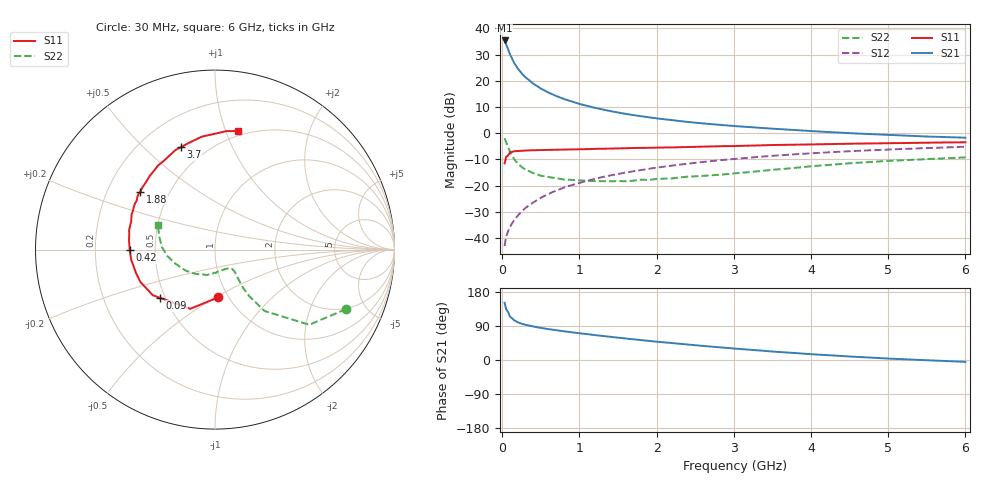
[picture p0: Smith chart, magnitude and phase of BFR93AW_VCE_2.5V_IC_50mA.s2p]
! Infineon Technologies  Discrete & RF Semiconductors
! BFR93AW
! VCE =  2.5 V,  IC =  50 mA
! Common Emitter S-Parameters:  Nov 2015
# GHz  S  MA  R  50
!  f  S11  S21  S12  S22
! GHz  MAG  ANG  MAG  ANG  MAG  ANG  MAG  ANG
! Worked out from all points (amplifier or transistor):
!   206 points, 30 MHz to 6 GHz, reference 50 ohm
!   highest |S21| = 35.4 dB at 30 MHz (marker M1)
!   |S21| within 3 dB of that: start of sweep to 70.81 MHz
!   unconditionally stable (mu >= 1): 348.6 MHz to 2.284 GHz
!   at 200 MHz: K = 0.92, MSG = 28.1 dB, |S12| = -31.5 dB
!   at 1.56 GHz: K = 1.04, MAG = 10.2 dB, |S12| = -15.2 dB
!   at 6 GHz: K = 0.94, MSG = 1.7 dB, |S12| = -5.1 dB
!   S11 on the Smith chart (normalised r, x): 30 MHz: 0.90, -0.52; 90 MHz: 0.47, -0.30; 420 MHz: 0.36, -0.00; 1.88 GHz: 0.34, +0.31; 3.7 GHz: 0.37, +0.65; 6 GHz: 0.46, +1.10
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0.03  0.2667 -85.9  59.03 151.0  0.007 73.6  0.8019 -24.4
0.05  0.3575 -112.7  49.87 133.7  0.0108 68.1  0.6723 -38.5
0.09  0.4069 -138.6  34.94 119.7  0.0153 65.6  0.484 -47.6
0.1  0.43 -143.8  31.73 114.2  0.0164 65.2  0.4398 -51.1
0.15  0.4534 -156.7  22.37 105.1  0.0214 68.0  0.3248 -53.6
0.2  0.4593 -163.8  17.23 99.5  0.0267 69.8  0.2647 -53.7
0.24  0.4624 -168.3  14.56 96.6  0.0309 71.0  0.2332 -52.7
0.3  0.47 -172.8  11.68 92.8  0.0375 73.1  0.2041 -51.3
0.4  0.4747 -178.6  8.824 88.2  0.0477 74.1  0.1735 -48.7
0.42  0.4751 -179.5  8.48 87.6  0.0499 74.4  0.1697 -48.6
0.5  0.478 177.0  7.114 84.5  0.0587 75.1  0.1546 -48.3
0.6  0.4823 173.6  5.951 81.4  0.0696 75.0  0.1456 -48.1
0.7  0.4847 170.2  5.132 78.4  0.0807 74.9  0.139 -49.4
1.04  0.4944 160.8  3.504 69.6  0.1175 73.0  0.1246 -58.3
1.4  0.5108 152.4  2.649 61.1  0.1568 70.1  0.121 -72.5
1.88  0.5269 142.2  2.03 50.8  0.2083 65.6  0.1287 -90.1
2.02  0.533 139.2  1.905 48.0  0.2224 64.4  0.135 -96.1
3.1  0.5744 118.5  1.343 28.8  0.3324 52.8  0.1759 -131.1
3.7  0.6015 108.5  1.172 19.7  0.3884 46.1  0.2122 -151.3
4.1  0.6158 102.3  1.08 14.2  0.4226 41.6  0.2402 -163.1
5.1  0.6481 89.3  0.917 2.9  0.4963 30.5  0.3012 174.5
6  0.6727 79.2  0.823 -4.9  0.5535 21.3  0.3464 156.3
